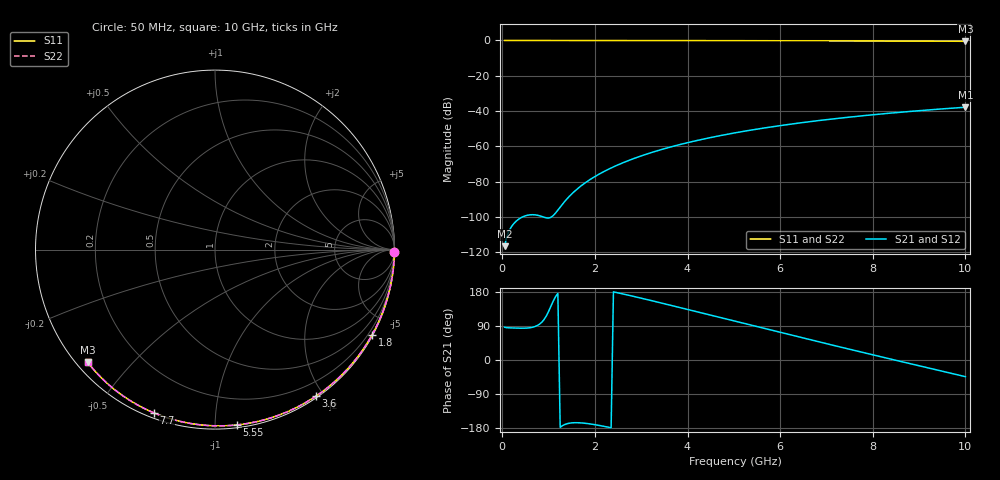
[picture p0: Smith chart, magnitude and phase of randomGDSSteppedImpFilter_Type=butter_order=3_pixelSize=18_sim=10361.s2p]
! freq	dB(S11)	phase(S11)	dB(S12)	phase(S12)
!  dB(S21)	phase(S21)	dB(S22)	phase(S22)
!S-par simulation data
#  GHz  S  DB  R 50
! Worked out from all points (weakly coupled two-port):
!   200 points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, 50 MHz to 10 GHz, reference 50 ohm
!   highest |S21| = -37.84 dB at 10 GHz (marker M1); lowest = -116.6 dB at 50 MHz (marker M2)
!   lowest |S11| = -0.5 dB at 10 GHz (marker M3), VSWR 36.96, Z = 1.55 - j18.9 ohm
!   |S11| at or under -10 dB: nowhere
!   |S22| runs from -0.5 to 0.0 dB; largest |S21 - S12| = 0
!   S11 on the Smith chart (normalised r, x): 50 MHz: open; 1.8 GHz: 0.03, -3.95; 3.6 GHz: 0.02, -1.90; 5.55 GHz: 0.02, -1.13; 7.7 GHz: 0.02, -0.69; 10 GHz: 0.03, -0.38
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0.05  -0.00 -0.8  -116.57 86.5  -116.57 86.5  -0.00 -0.8
0.45  -0.01 -7.2  -99.84 83.9  -99.84 83.9  -0.01 -7.2
0.9  -0.02 -14.3  -100.17 106.5  -100.17 106.5  -0.02 -14.3
1.75  -0.04 -27.6  -81.44 -166.5  -81.44 -166.5  -0.04 -27.6
1.8  -0.04 -28.4  -80.49 -167.1  -80.49 -167.1  -0.04 -28.4
1.85  -0.04 -29.2  -79.59 -167.9  -79.59 -167.9  -0.04 -29.2
2.05  -0.04 -32.3  -76.34 -171.7  -76.34 -171.7  -0.04 -32.3
2.25  -0.05 -35.3  -73.53 -176.3  -73.53 -176.3  -0.05 -35.3
2.55  -0.05 -39.9  -69.90 175.8  -69.90 175.8  -0.05 -39.9
2.95  -0.06 -45.9  -65.87 164.6  -65.87 164.6  -0.06 -45.9
3.4  -0.07 -52.6  -62.09 151.4  -62.09 151.4  -0.07 -52.6
3.6  -0.07 -55.5  -60.60 145.4  -60.60 145.4  -0.07 -55.5
3.9  -0.08 -59.9  -58.56 136.4  -58.56 136.4  -0.08 -59.9
4.3  -0.09 -65.6  -56.12 124.3  -56.12 124.3  -0.09 -65.6
5.05  -0.12 -76.0  -52.23 101.6  -52.23 101.6  -0.12 -76.0
5.55  -0.14 -82.8  -50.03 86.5  -50.03 86.5  -0.14 -82.8
6.1  -0.16 -90.1  -47.88 69.9  -47.88 69.9  -0.16 -90.1
6.7  -0.19 -97.9  -45.82 52.0  -45.82 52.0  -0.19 -97.9
7.7  -0.25 -110.5  -42.89 22.4  -42.89 22.4  -0.25 -110.5
8.35  -0.30 -118.6  -41.25 3.5  -41.25 3.5  -0.30 -118.6
9.2  -0.38 -128.9  -39.38 -21.0  -39.38 -21.0  -0.38 -128.9
10  -0.47 -138.5  -37.84 -44.0  -37.84 -44.0  -0.47 -138.5
